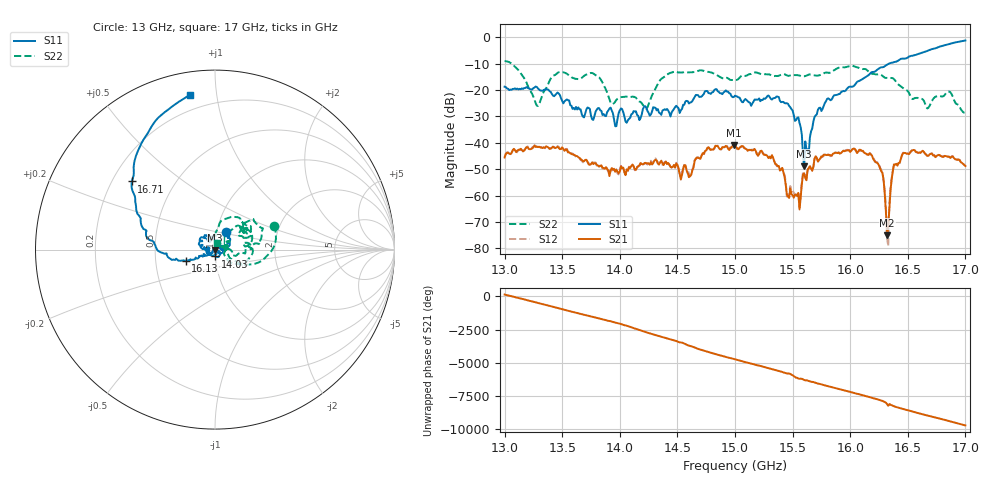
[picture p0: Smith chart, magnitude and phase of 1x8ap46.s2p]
!Keysight Technologies,P9374A,MY57211807,A.19.30.04
!Date: Friday, May 08, 2026 14:59:47
!Correction: S11(C  2-Port  )
!S21(C  2-Port  )
!S12(C  2-Port  )
!S22(C  2-Port  )
!S2P File: Measurements: S11, S21, S12, S22:
# Hz S  dB  R 50
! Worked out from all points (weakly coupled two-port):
!   401 points, 13 GHz to 17 GHz, reference 50 ohm
!   highest |S21| = -40.82 dB at 14.99 GHz (marker M1); lowest = -75.0 dB at 16.32 GHz (marker M2)
!   lowest |S11| = -49.0 dB at 15.6 GHz (marker M3), VSWR 1.01, Z = 50.1 - j0.332 ohm
!   |S11| at or under -10 dB: start of sweep to 16.33 GHz
!   |S22| runs from -28.7 to -9.0 dB; largest |S21 - S12| = 0.00056
!   S11 on the Smith chart (normalised r, x): 13 GHz: 1.11, +0.22; 14.03 GHz: 1.00, -0.08; 16.13 GHz: 0.71, -0.09; 16.71 GHz: 0.28, +0.33; 17 GHz: 0.12, +0.85
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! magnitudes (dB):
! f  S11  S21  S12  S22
! 13 GHz  -18.7  -45.6  -45.3  -9.0
! 13.28 GHz  -18.8  -41.4  -41.3  -25.9
! 13.46 GHz  -20.9  -41.5  -41.3  -13.5
! 13.67 GHz  -29.2  -46.5  -46.8  -15.4
! 14.03 GHz  -28.4  -49.4  -50.0  -22.6
! 14.23 GHz  -26.7  -47.8  -47.7  -27.0
! 14.34 GHz  -28.6  -48.3  -47.6  -16.9
! 14.61 GHz  -24.7  -52.7  -52.7  -13.3
! 14.99 GHz  -22.6  -40.8  -40.6  -16.2
! 15 GHz  -22.1  -41.2  -41.1  -16.2
! 15.32 GHz  -23.6  -44.7  -45.1  -14.5
! 15.46 GHz  -25.2  -60.4  -59.7  -14.6
! 15.6 GHz  -49.0  -51.5  -51.3  -14.8
! 15.67 GHz  -34.6  -50.6  -50.1  -14.2
! 16.13 GHz  -15.2  -44.0  -43.9  -12.0
! 16.26 GHz  -11.5  -49.7  -49.5  -14.1
! 16.32 GHz  -10.4  -75.0  -76.0  -15.4
! 16.34 GHz  -9.9  -65.2  -63.1  -15.4
! 16.38 GHz  -9.4  -48.2  -48.4  -15.8
! 16.46 GHz  -8.0  -43.9  -43.8  -19.3
! 16.71 GHz  -4.4  -44.1  -44.0  -24.1
! 17 GHz  -1.2  -48.8  -48.8  -28.7
